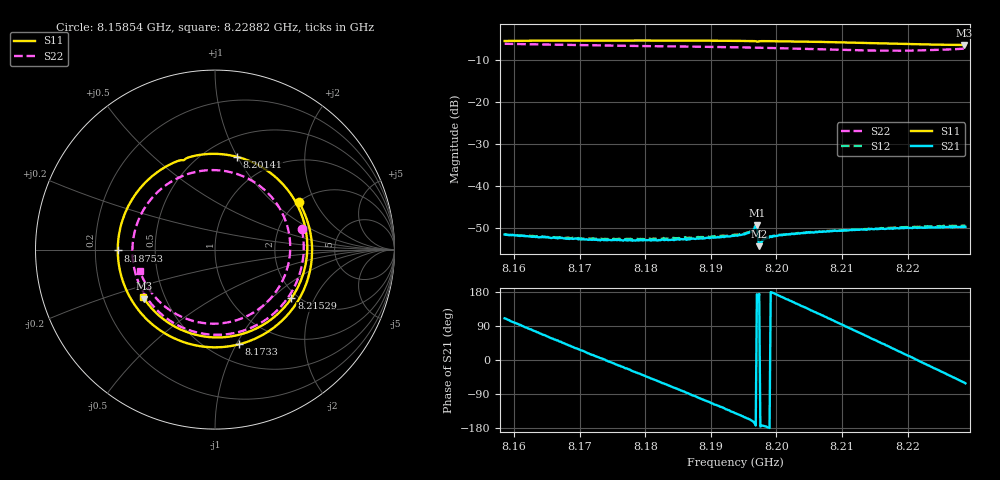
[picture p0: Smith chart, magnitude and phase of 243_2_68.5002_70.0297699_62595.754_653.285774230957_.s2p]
#  HZ  S  RI  R  50.00
! Rohde & Schwarz Vector Network Analyzer
! Rohde-Schwarz,ZNB20-2Port,1311601062101988,3.16
! Created: UTC 3/20/2024, 4:59:26 PM
! freq[Hz]  re:S11  im:S11  re:S21  im:S21  re:S12  im:S12  re:S22  im:S22
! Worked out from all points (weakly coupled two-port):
!   401 points, 8.15854 GHz to 8.22882 GHz, reference 50 ohm
!   highest |S21| = -49.37 dB at 8.19702 GHz (marker M1); lowest = -54.4 dB at 8.19737 GHz (marker M2)
!   lowest |S11| = -6.4 dB at 8.22864 GHz (marker M3), VSWR 2.85, Z = 19 - j13.5 ohm
!   |S11| at or under -10 dB: nowhere
!   |S22| runs from -7.7 to -6.1 dB; largest |S21 - S12| = 0.00023
!   S11 on the Smith chart (normalised r, x): 8.15854 GHz: 2.01, +1.49; 8.1733 GHz: 0.68, -1.03; 8.18753 GHz: 0.30, -0.00; 8.20141 GHz: 0.69, +1.00; 8.21529 GHz: 1.85, -1.35; 8.22882 GHz: 0.38, -0.26
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8.158545e9  0.4673 0.2642  -0.000901 0.00247  -0.000908 0.0025  0.4838 0.114
8.164342e9  0.5305 -0.1114  0.000971 0.00227  0.000946 0.00232  0.4334 -0.2243
8.170315e9  0.3169 -0.4425  0.00208 0.000968  0.00214 0.00103  0.1727 -0.4466
8.173302e9  0.1338 -0.5278  0.00228 0.000175  0.00234 0.000179  0.004 -0.4747
8.177518e9  -0.1517 -0.5226  0.00204 -0.000948  0.0021 -0.00102  -0.2251 -0.4121
8.182086e9  -0.4128 -0.3533  0.00124 -0.00189  0.00126 -0.00195  -0.4029 -0.2315
8.187531e9  -0.5419 -0.00495  -0.000201 -0.00233  -0.000259 -0.00243  -0.4549 0.0617
8.190518e9  -0.5027 0.199  -0.00112 -0.00214  -0.00119 -0.00223  -0.4005 0.2176
8.19368e9  -0.3798 0.3823  -0.00196 -0.00164  -0.00207 -0.00162  -0.2856 0.3499
8.196667e9  -0.2013 0.4955  -0.00304 -0.000705  -0.00316 -0.000625  -0.1374 0.4255
8.197018e9  -0.1764 0.498  -0.00338 0.000391  -0.00343 0.000531  -0.1182 0.4304
8.197369e9  -0.162 0.5072  -0.0019 0.000184  -0.00192 0.000241  -0.099 0.4348
8.197721e9  -0.1373 0.5168  -0.00212 -0.000247  -0.00217 -0.000138  -0.0794 0.4381
8.20141e9  0.1225 0.517  -0.00251 0.000844  -0.00246 0.000933  0.1277 0.4196
8.20545e9  0.3673 0.3757  -0.0018 0.00215  -0.00171 0.00222  0.3185 0.2892
8.210369e9  0.512 0.0638  -2.64e-05 0.00298  3.69e-05 0.00295  0.4192 0.0193
8.215288e9  0.4256 -0.2716  0.00193 0.00237  0.00207 0.00231  0.3182 -0.2621
8.217221e9  0.3317 -0.3743  0.00254 0.00177  0.00266 0.00171  0.2256 -0.3436
8.220032e9  0.1531 -0.4694  0.0031 0.000654  0.00317 0.000552  0.055 -0.4083
8.222842e9  -0.0484 -0.4857  0.00315 -0.000631  0.00318 -0.000805  -0.1311 -0.3948
8.22864e9  -0.3952 -0.273  0.00164 -0.00278  0.00153 -0.00299  -0.4138 -0.1322
8.228815e9  -0.4023 -0.2625  0.00155 -0.00286  0.00148 -0.00302  -0.4179 -0.1207
